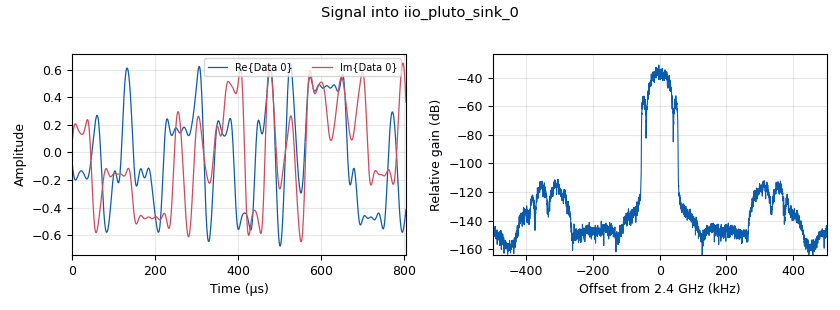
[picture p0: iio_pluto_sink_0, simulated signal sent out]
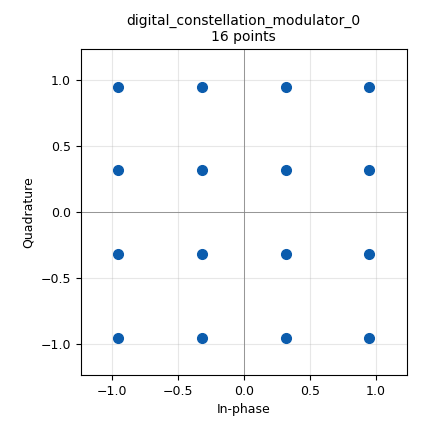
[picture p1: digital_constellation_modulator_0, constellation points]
options:
  parameters:
    author: Jose Sanchez
    generate_options: no_gui
    id: MPSK_TX
    output_language: python
    title: MPSK TX
  states: {}

blocks:
- name: ConsObj
  id: variable_constellation
  parameters:
    precision: '8'
    type: 16qam
  states: {}
- name: M
  id: variable
  parameters:
    value: '16'
  states: {}
- name: SDR_ID
  id: variable
  parameters:
    value: '"ip:192.168.2.1"'
  states: {}
- name: bandwidth
  id: variable
  parameters:
    value: '20000000'
  states: {}
- name: bitsPerSymbol
  id: variable
  parameters:
    value: int(math.log(M,2))
  states: {}
- name: buffer_size
  id: variable
  parameters:
    value: '0x800'
  states: {}
- name: dataRate
  id: variable
  parameters:
    value: 32e3
  states: {}
- name: excess_bw
  id: variable
  parameters:
    value: '0.35'
  states: {}
- name: freq
  id: variable
  parameters:
    value: '2400000000'
  states: {}
- name: gain
  id: variable
  parameters:
    value: '0'
  states: {}
- name: rs_ratio
  id: variable
  parameters:
    value: '1.0'
  states: {}
- name: samp_rate
  id: variable
  parameters:
    value: '1000000'
  states: {}
- name: sps
  id: variable
  parameters:
    value: M
  states: {}
- name: usrp_rate
  id: variable
  parameters:
    value: '768000'
  states: {}
- name: analog_random_source_x_0
  id: analog_random_source_x
  parameters:
    max: '2'
    min: '0'
    num_samps: '1000'
    repeat: 'True'
    type: byte
  states: {}
- name: blocks_multiply_const_vxx_0
  id: blocks_multiply_const_vxx
  parameters:
    const: '0.5'
    type: complex
  states: {}
- name: blocks_repack_bits_bb_0
  id: blocks_repack_bits_bb
  parameters:
    endianness: gr.GR_LSB_FIRST
    k: '1'
    l: bitsPerSymbol
  states: {}
- name: digital_constellation_modulator_0
  id: digital_constellation_modulator
  parameters:
    constellation: ConsObj
    differential: 'True'
    excess_bw: excess_bw
    samples_per_symbol: sps
  states: {}
- name: iio_pluto_sink_0
  id: iio_pluto_sink
  parameters:
    attenuation1: gain
    bandwidth: bandwidth
    buffer_size: buffer_size
    cyclic: 'False'
    filter_source: '''Auto'''
    frequency: freq
    samplerate: samp_rate
    type: fc32
    uri: SDR_ID
  states: {}
- name: import_0
  id: import
  parameters:
    imports: import math
  states: {}
- name: mmse_resampler_xx_0_0
  id: mmse_resampler_xx
  parameters:
    phase_shift: '0'
    resamp_ratio: 1.0/((usrp_rate/samp_rate)*rs_ratio)
    type: complex
  states: {}

connections:
- [analog_random_source_x_0, '0', blocks_repack_bits_bb_0, '0']
- [blocks_multiply_const_vxx_0, '0', mmse_resampler_xx_0_0, '0']
- [blocks_repack_bits_bb_0, '0', digital_constellation_modulator_0, '0']
- [digital_constellation_modulator_0, '0', blocks_multiply_const_vxx_0, '0']
- [mmse_resampler_xx_0_0, '0', iio_pluto_sink_0, '0']

metadata:
  file_format: 1
  grc_version: 3.10.6.0
